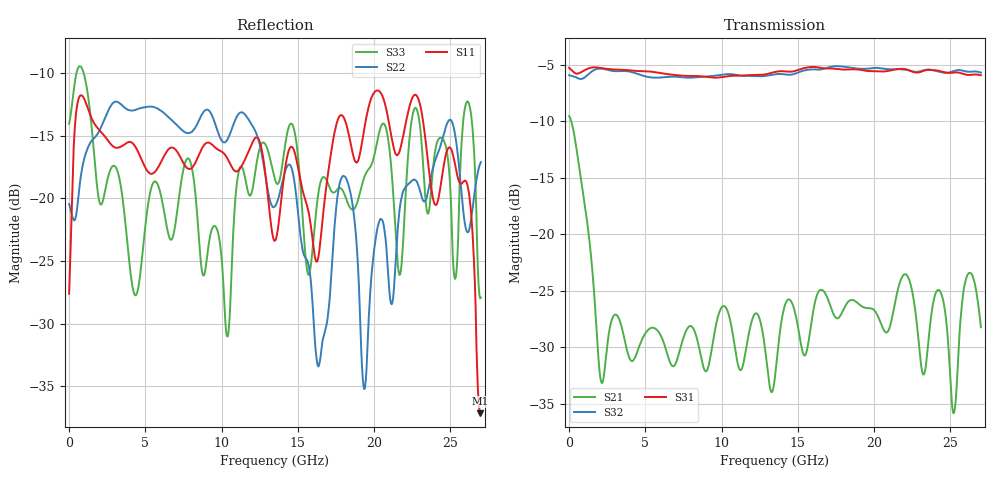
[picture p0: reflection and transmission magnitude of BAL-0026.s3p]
! MARKI MICROWAVE INC.
! Email:  info@markimicrowave.com  Phone:  408-778-4200
! Model Number:  BAL-0026  Date:  02/14
! Filename:		BAL-0026.S3P  Version: 1.0
! Description:  3-port S-parameter data for Balun BAL-0026
! Frequency Range: 	10 MHz to 26.5 GHz
! Port Configuration:	PORT 1: OUTPUT (0 DEGREE), PORT 2: OUTPUT (180 DEGREE), PORT 3: COMMON
! S3P File: Measurements: Mag<S11> Ang<S11> Mag<S12> Ang<S12> Mag<S13> Ang<S13>! row 1
!  Mag<S21> Ang<S21> Mag<S22> Ang<S22> Mag<S23> Ang<S23>! row 2
!  Mag<S31> Ang<S31> Mag<S32> Ang<S32> Mag<S33> Ang<S33>! row 3
# Hz S  dB  R 50
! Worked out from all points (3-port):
!   541 points, 10 MHz to 27 GHz, reference 50 ohm
!   strongest paths, dB at 10 MHz, 6.758 GHz, 13.51 GHz, 20.25 GHz, 27 GHz:
!     S31: -5.3, -5.9, -5.7, -5.6, -6.0
!     S32: -6.0, -6.1, -5.9, -5.3, -5.7
!     S21: -9.6, -31.6, -32.6, -27.2, -28.2
!   lowest |S11| = -37.2 dB at 26.95 GHz (marker M1), VSWR 1.03, Z = 48.7 - j0.442 ohm
!   |S11| at or under -10 dB: start of sweep to end of sweep
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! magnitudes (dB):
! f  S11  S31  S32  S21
! 10 MHz  -27.6  -5.3  -6.0  -9.6
! 2.159 GHz  -14.8  -5.3  -5.4  -33.2
! 13.51 GHz  -23.4  -5.7  -5.9  -32.6
! 16.36 GHz  -24.6  -5.3  -5.4  -25.1
! 18.16 GHz  -14.0  -5.4  -5.2  -26.2
! 19.36 GHz  -14.5  -5.5  -5.4  -26.5
! 22.75 GHz  -11.7  -5.7  -5.6  -27.3
! 26.15 GHz  -19.1  -5.9  -5.6  -23.5
! 26.95 GHz  -37.2  -5.9  -5.7  -27.6
! 27 GHz  -37.1  -6.0  -5.7  -28.2
